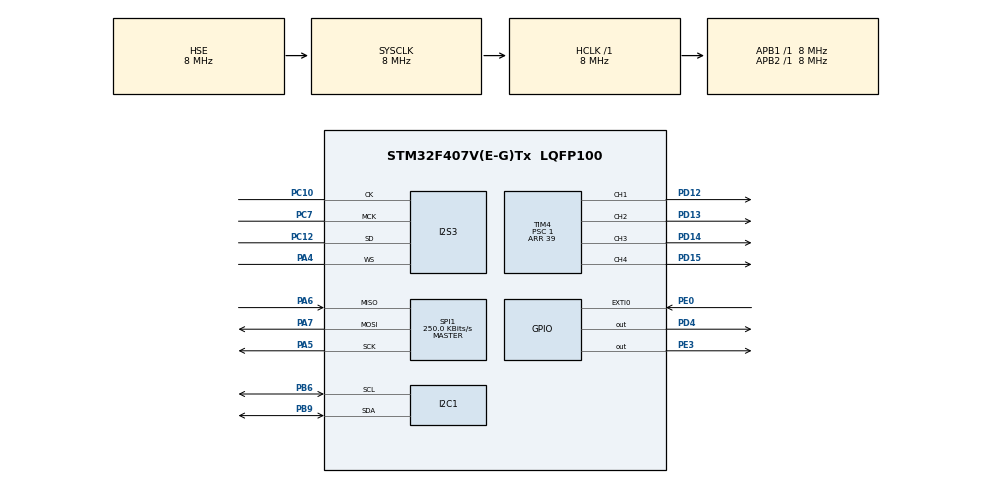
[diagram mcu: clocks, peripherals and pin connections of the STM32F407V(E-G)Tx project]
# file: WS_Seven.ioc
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Dma.Request0=SPI3_TX
Dma.SPI3_TX.0.Direction=DMA_MEMORY_TO_PERIPH
Dma.SPI3_TX.0.FIFOMode=DMA_FIFOMODE_ENABLE
Dma.SPI3_TX.0.FIFOThreshold=DMA_FIFO_THRESHOLD_FULL
Dma.SPI3_TX.0.Instance=DMA1_Stream5
Dma.SPI3_TX.0.MemBurst=DMA_MBURST_SINGLE
Dma.SPI3_TX.0.MemDataAlignment=DMA_MDATAALIGN_HALFWORD
Dma.SPI3_TX.0.MemInc=DMA_MINC_ENABLE
Dma.SPI3_TX.0.Mode=DMA_CIRCULAR
Dma.SPI3_TX.0.PeriphBurst=DMA_PBURST_SINGLE
Dma.SPI3_TX.0.PeriphDataAlignment=DMA_PDATAALIGN_HALFWORD
Dma.SPI3_TX.0.PeriphInc=DMA_PINC_DISABLE
Dma.SPI3_TX.0.Priority=DMA_PRIORITY_LOW
I2S3.AudioFreq=I2S_AUDIOFREQ_48K
I2S3.ErrorAudioFreq=-2.34 %
I2S3.FullDuplexMode=I2S_FULLDUPLEXMODE_DISABLE
I2S3.Instance=SPI$Index
I2S3.RealAudioFreq=46.875 KHz
I2S3.VirtualMode=I2S_MODE_MASTER
Mcu.Family=STM32F4
Mcu.Name=STM32F407V(E-G)Tx
Mcu.Package=LQFP100
NVIC.DMA1_Stream5_IRQn=true\:0\:0\:false\:false\:true\:false\:true\:true
NVIC.EXTI0_IRQn=true\:0\:0\:false\:false\:true\:true\:true\:true
NVIC.PriorityGroup=NVIC_PRIORITYGROUP_4
NVIC.TIM4_IRQn=true\:0\:0\:false\:false\:true\:true\:true\:true
PA4.Mode=Half_Duplex_Master
PA4.Signal=I2S3_WS
PA5.Mode=Full_Duplex_Master
PA5.Signal=SPI1_SCK
PA6.Mode=Full_Duplex_Master
PA6.Signal=SPI1_MISO
PA7.Mode=Full_Duplex_Master
PA7.Signal=SPI1_MOSI
PB6.Mode=I2C
PB6.Signal=I2C1_SCL
PB9.Mode=I2C
PB9.Signal=I2C1_SDA
PC10.Mode=Half_Duplex_Master
PC10.Signal=I2S3_CK
PC12.Mode=Half_Duplex_Master
PC12.Signal=I2S3_SD
PC7.Mode=Master_Clock_Activated
PC7.Signal=I2S3_MCK
PD12.Signal=S_TIM4_CH1
PD13.Signal=S_TIM4_CH2
PD14.Signal=S_TIM4_CH3
PD15.Signal=S_TIM4_CH4
PD4.Signal=GPIO_Output
PE0.Signal=GPXTI0
PE3.Signal=GPIO_Output
PH0-OSC_IN.Mode=HSE-External-Oscillator
PH0-OSC_IN.Signal=RCC_OSC_IN
PH1-OSC_OUT.Mode=HSE-External-Oscillator
PH1-OSC_OUT.Signal=RCC_OSC_OUT
ProjectManager.HeapSize=0x200
ProjectManager.StackSize=0x400
ProjectManager.TargetToolchain=STM32CubeIDE
RCC.48MHZClocksFreq_Value=24000000
RCC.AHBFreq_Value=8000000
RCC.APB1Freq_Value=8000000
RCC.APB1TimFreq_Value=8000000
RCC.APB2Freq_Value=8000000
RCC.APB2TimFreq_Value=8000000
RCC.CortexFreq_Value=8000000
RCC.HCLKFreq_Value=8000000
RCC.HSE_VALUE=8000000
RCC.HSI_VALUE=16000000
RCC.LSE_VALUE=32768
RCC.PLLSourceVirtual=RCC_PLLSOURCE_HSE
RCC.SYSCLKFreq_VALUE=8000000
RCC.SYSCLKSource=RCC_SYSCLKSOURCE_HSE
RCC.VCOOutputFreq_Value=96000000
SH.S_TIM4_CH1.0=TIM4_CH1,PWM Generation1 CH1
SH.S_TIM4_CH2.0=TIM4_CH2,PWM Generation2 CH2
SH.S_TIM4_CH3.0=TIM4_CH3,PWM Generation3 CH3
SH.S_TIM4_CH4.0=TIM4_CH4,PWM Generation4 CH4
SPI1.BaudRatePrescaler=SPI_BAUDRATEPRESCALER_32
SPI1.CalculateBaudRate=250.0 KBits/s
SPI1.Direction=SPI_DIRECTION_2LINES
SPI1.Mode=SPI_MODE_MASTER
SPI1.VirtualType=VM_MASTER
TIM4.AutoReloadPreload=TIM_AUTORELOAD_PRELOAD_ENABLE
TIM4.Channel-PWM\ Generation1\ CH1=TIM_CHANNEL_1
TIM4.Channel-PWM\ Generation2\ CH2=TIM_CHANNEL_2
TIM4.Channel-PWM\ Generation3\ CH3=TIM_CHANNEL_3
TIM4.Channel-PWM\ Generation4\ CH4=TIM_CHANNEL_4
TIM4.CounterMode=TIM_COUNTERMODE_DOWN
TIM4.Period=39
TIM4.Prescaler=1
VP_TIM4_VS_ClockSourceINT.Mode=Internal
board=custom

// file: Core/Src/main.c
/* USER CODE BEGIN Header */
/**
  ******************************************************************************
  * @file           : main.c
  * @brief          : Main program body
  ******************************************************************************
  * @attention
  *
  * Copyright (c) 2024 STMicroelectronics.
  * All rights reserved.
  *
  * This software is licensed under terms that can be found in the LICENSE file
  * in the root directory of this software component.
  * If no LICENSE file comes with this software, it is provided AS-IS.
  *
  ******************************************************************************
  */
/* USER CODE END Header */
#include "main.h"

/* USER CODE BEGIN Includes */
#include "dac.h"
#include <math.h>
#include "MY_LIS3DSH.h"
#include <stdbool.h>
/* USER CODE END Includes */

/* USER CODE BEGIN PD */
#define NUM_VALUES_TO_AVERAGE			4
#define X_TOLERANCE 				45.0
#define Y_TOLERANCE 				34.0
#define ABS(x) 					((x) < 0 ? -(x) : (x))
#define MAX_ABS(x, y) 				(ABS(x) > ABS(y) ? ABS(x) : ABS(y))
#define MAX_ABS_COORDINATES			1000.0
/* USER CODE END PD */

I2C_HandleTypeDef hi2c1;

I2S_HandleTypeDef hi2s3;
DMA_HandleTypeDef hdma_spi3_tx;

SPI_HandleTypeDef hspi1;

TIM_HandleTypeDef htim4;

/* USER CODE BEGIN PV */
int16_t dataI2S[100] = {0};
enum LEDDirection {
    NORTH,
    EAST,
    SOUTH,
    WEST,
    FLAT
};

LIS3DSH_DataScaled myData;
uint8_t tiltedLed = 4;
extern bool dataRdy;
/* USER CODE END PV */

void SystemClock_Config(void);
static void MX_GPIO_Init(void);
static void MX_DMA_Init(void);
static void MX_SPI1_Init(void);
static void MX_TIM4_Init(void);
static void MX_I2C1_Init(void);
static void MX_I2S3_Init(void);
/* USER CODE BEGIN PFP */
uint8_t determineLED(LIS3DSH_DataScaled data);
void updateDutycycle(uint8_t led, LIS3DSH_DataScaled data);
bool isFlat(LIS3DSH_DataScaled data);
void setSound(uint8_t led, LIS3DSH_DataScaled data);
bool acquireAndAverageData(LIS3DSH_DataScaled *newData);
void startPWM(uint8_t led);

/* USER CODE END PFP */

int main(void)
{

  /* MCU Configuration--------------------------------------------------------*/

  /* Reset of all peripherals, Initializes the Flash interface and the Systick. */
  HAL_Init();

  /* Configure the system clock */
  SystemClock_Config();

  /* Initialize all configured peripherals */
  MX_GPIO_Init();
  MX_DMA_Init();
  MX_SPI1_Init();
  MX_TIM4_Init();
  MX_I2C1_Init();
  MX_I2S3_Init();
  /* USER CODE BEGIN 2 */

  HAL_TIM_Base_Start_IT(&htim4);
  LIS3DSH_InitTypeDef myAccConfigDef;

  myAccConfigDef.dataRate = LIS3DSH_DATARATE_25;
  myAccConfigDef.fullScale = LIS3DSH_FULLSCALE_4;
  myAccConfigDef.antiAliasingBW = LIS3DSH_FILTER_BW_50;
  myAccConfigDef.enableAxes = LIS3DSH_XYZ_ENABLE;
  myAccConfigDef.interruptEnable = true;
  LIS3DSH_Init(&hspi1, &myAccConfigDef);

  LIS3DSH_X_calibrate(-1000.0, 980.0);
  LIS3DSH_Y_calibrate(-1020.0, 1040.0);
  LIS3DSH_Z_calibrate(-920.0, 1040.0);

  CS43L22_Init();

    //Transmit empty data
    HAL_I2S_Transmit_DMA(&hi2s3, (uint16_t *)dataI2S, 100);
  /* USER CODE END 2 */

  /* Infinite loop */
  /* USER CODE BEGIN WHILE */
    while (1)
    {
    	if(dataRdy)
    	{
    	    dataRdy = false;
            myData = LIS3DSH_GetDataScaled();

            if (acquireAndAverageData(&myData))
            {
                // Determine LED direction
                tiltedLed = determineLED(myData);

                // Control LED based on direction
                startPWM(tiltedLed);
                setSound(tiltedLed, myData);
                updateDutycycle(tiltedLed, myData);
            }
	}

        /* USER CODE END WHILE */

    }
}

void SystemClock_Config(void)
{
  RCC_OscInitTypeDef RCC_OscInitStruct = {0};
  RCC_ClkInitTypeDef RCC_ClkInitStruct = {0};

  /** Macro to configure the PLL multiplication factor
  */
  __HAL_RCC_PLL_PLLM_CONFIG(16);

  /** Macro to configure the PLL clock source
  */
  __HAL_RCC_PLL_PLLSOURCE_CONFIG(RCC_PLLSOURCE_HSE);

  /** Configure the main internal regulator output voltage
  */
  __HAL_RCC_PWR_CLK_ENABLE();
  __HAL_PWR_VOLTAGESCALING_CONFIG(PWR_REGULATOR_VOLTAGE_SCALE1);

  /** Initializes the RCC Oscillators according to the specified parameters
  * in the RCC_OscInitTypeDef structure.
  */
  RCC_OscInitStruct.OscillatorType = RCC_OSCILLATORTYPE_HSE;
  RCC_OscInitStruct.HSEState = RCC_HSE_ON;
  RCC_OscInitStruct.PLL.PLLState = RCC_PLL_NONE;
  RCC_OscInitStruct.PLL.PLLSource = RCC_PLLSOURCE_HSE;
  if (HAL_RCC_OscConfig(&RCC_OscInitStruct) != HAL_OK)
  {
    Error_Handler();
  }

  /** Initializes the CPU, AHB and APB buses clocks
  */
  RCC_ClkInitStruct.ClockType = RCC_CLOCKTYPE_HCLK|RCC_CLOCKTYPE_SYSCLK
                              |RCC_CLOCKTYPE_PCLK1|RCC_CLOCKTYPE_PCLK2;
  RCC_ClkInitStruct.SYSCLKSource = RCC_SYSCLKSOURCE_HSE;
  RCC_ClkInitStruct.AHBCLKDivider = RCC_SYSCLK_DIV1;
  RCC_ClkInitStruct.APB1CLKDivider = RCC_HCLK_DIV1;
  RCC_ClkInitStruct.APB2CLKDivider = RCC_HCLK_DIV1;

  if (HAL_RCC_ClockConfig(&RCC_ClkInitStruct, FLASH_LATENCY_0) != HAL_OK)
  {
    Error_Handler();
  }
}

static void MX_I2C1_Init(void)
{

  hi2c1.Instance = I2C1;
  hi2c1.Init.ClockSpeed = 100000;
  hi2c1.Init.DutyCycle = I2C_DUTYCYCLE_2;
  hi2c1.Init.OwnAddress1 = 0;
  hi2c1.Init.AddressingMode = I2C_ADDRESSINGMODE_7BIT;
  hi2c1.Init.DualAddressMode = I2C_DUALADDRESS_DISABLE;
  hi2c1.Init.OwnAddress2 = 0;
  hi2c1.Init.GeneralCallMode = I2C_GENERALCALL_DISABLE;
  hi2c1.Init.NoStretchMode = I2C_NOSTRETCH_DISABLE;
  if (HAL_I2C_Init(&hi2c1) != HAL_OK)
  {
    Error_Handler();
  }

}

static void MX_I2S3_Init(void)
{

  hi2s3.Instance = SPI3;
  hi2s3.Init.Mode = I2S_MODE_MASTER_TX;
  hi2s3.Init.Standard = I2S_STANDARD_PHILIPS;
  hi2s3.Init.DataFormat = I2S_DATAFORMAT_16B;
  hi2s3.Init.MCLKOutput = I2S_MCLKOUTPUT_ENABLE;
  hi2s3.Init.AudioFreq = I2S_AUDIOFREQ_48K;
  hi2s3.Init.CPOL = I2S_CPOL_LOW;
  hi2s3.Init.ClockSource = I2S_CLOCK_PLL;
  hi2s3.Init.FullDuplexMode = I2S_FULLDUPLEXMODE_DISABLE;
  if (HAL_I2S_Init(&hi2s3) != HAL_OK)
  {
    Error_Handler();
  }

}

static void MX_SPI1_Init(void)
{

  /* SPI1 parameter configuration*/
  hspi1.Instance = SPI1;
  hspi1.Init.Mode = SPI_MODE_MASTER;
  hspi1.Init.Direction = SPI_DIRECTION_2LINES;
  hspi1.Init.DataSize = SPI_DATASIZE_8BIT;
  hspi1.Init.CLKPolarity = SPI_POLARITY_LOW;
  hspi1.Init.CLKPhase = SPI_PHASE_1EDGE;
  hspi1.Init.NSS = SPI_NSS_SOFT;
  hspi1.Init.BaudRatePrescaler = SPI_BAUDRATEPRESCALER_32;
  hspi1.Init.FirstBit = SPI_FIRSTBIT_MSB;
  hspi1.Init.TIMode = SPI_TIMODE_DISABLE;
  hspi1.Init.CRCCalculation = SPI_CRCCALCULATION_DISABLE;
  hspi1.Init.CRCPolynomial = 10;
  if (HAL_SPI_Init(&hspi1) != HAL_OK)
  {
    Error_Handler();
  }

}

static void MX_TIM4_Init(void)
{

  TIM_ClockConfigTypeDef sClockSourceConfig = {0};
  TIM_MasterConfigTypeDef sMasterConfig = {0};
  TIM_OC_InitTypeDef sConfigOC = {0};

  htim4.Instance = TIM4;
  htim4.Init.Prescaler = 1;
  htim4.Init.CounterMode = TIM_COUNTERMODE_DOWN;
  htim4.Init.Period = 39;
  htim4.Init.ClockDivision = TIM_CLOCKDIVISION_DIV1;
  htim4.Init.AutoReloadPreload = TIM_AUTORELOAD_PRELOAD_ENABLE;
  if (HAL_TIM_Base_Init(&htim4) != HAL_OK)
  {
    Error_Handler();
  }
  sClockSourceConfig.ClockSource = TIM_CLOCKSOURCE_INTERNAL;
  if (HAL_TIM_ConfigClockSource(&htim4, &sClockSourceConfig) != HAL_OK)
  {
    Error_Handler();
  }
  if (HAL_TIM_PWM_Init(&htim4) != HAL_OK)
  {
    Error_Handler();
  }
  sMasterConfig.MasterOutputTrigger = TIM_TRGO_RESET;
  sMasterConfig.MasterSlaveMode = TIM_MASTERSLAVEMODE_DISABLE;
  if (HAL_TIMEx_MasterConfigSynchronization(&htim4, &sMasterConfig) != HAL_OK)
  {
    Error_Handler();
  }
  sConfigOC.OCMode = TIM_OCMODE_PWM1;
  sConfigOC.Pulse = 0;
  sConfigOC.OCPolarity = TIM_OCPOLARITY_HIGH;
  sConfigOC.OCFastMode = TIM_OCFAST_DISABLE;
  if (HAL_TIM_PWM_ConfigChannel(&htim4, &sConfigOC, TIM_CHANNEL_1) != HAL_OK)
  {
    Error_Handler();
  }
  if (HAL_TIM_PWM_ConfigChannel(&htim4, &sConfigOC, TIM_CHANNEL_2) != HAL_OK)
  {
    Error_Handler();
  }
  if (HAL_TIM_PWM_ConfigChannel(&htim4, &sConfigOC, TIM_CHANNEL_3) != HAL_OK)
  {
    Error_Handler();
  }
  if (HAL_TIM_PWM_ConfigChannel(&htim4, &sConfigOC, TIM_CHANNEL_4) != HAL_OK)
  {
    Error_Handler();
  }
  HAL_TIM_MspPostInit(&htim4);

}

static void MX_DMA_Init(void)
{

  /* DMA controller clock enable */
  __HAL_RCC_DMA1_CLK_ENABLE();

  /* DMA interrupt init */
  /* DMA1_Stream5_IRQn interrupt configuration */
  HAL_NVIC_SetPriority(DMA1_Stream5_IRQn, 0, 0);
  HAL_NVIC_EnableIRQ(DMA1_Stream5_IRQn);

}

static void MX_GPIO_Init(void)
{
  GPIO_InitTypeDef GPIO_InitStruct = {0};

  /* GPIO Ports Clock Enable */
  __HAL_RCC_GPIOE_CLK_ENABLE();
  __HAL_RCC_GPIOH_CLK_ENABLE();
  __HAL_RCC_GPIOA_CLK_ENABLE();
  __HAL_RCC_GPIOD_CLK_ENABLE();
  __HAL_RCC_GPIOC_CLK_ENABLE();
  __HAL_RCC_GPIOB_CLK_ENABLE();

  /*Configure GPIO pin Output Level */
  HAL_GPIO_WritePin(GPIOE, GPIO_PIN_3, GPIO_PIN_RESET);

  /*Configure GPIO pin Output Level */
  HAL_GPIO_WritePin(GPIOD, GPIO_PIN_4, GPIO_PIN_RESET);

  /*Configure GPIO pin : PE3 */
  GPIO_InitStruct.Pin = GPIO_PIN_3;
  GPIO_InitStruct.Mode = GPIO_MODE_OUTPUT_PP;
  GPIO_InitStruct.Pull = GPIO_NOPULL;
  GPIO_InitStruct.Speed = GPIO_SPEED_FREQ_LOW;
  HAL_GPIO_Init(GPIOE, &GPIO_InitStruct);

  /*Configure GPIO pin : PD4 */
  GPIO_InitStruct.Pin = GPIO_PIN_4;
  GPIO_InitStruct.Mode = GPIO_MODE_OUTPUT_PP;
  GPIO_InitStruct.Pull = GPIO_NOPULL;
  GPIO_InitStruct.Speed = GPIO_SPEED_FREQ_LOW;
  HAL_GPIO_Init(GPIOD, &GPIO_InitStruct);

  /*Configure GPIO pin : PE0 */
  GPIO_InitStruct.Pin = GPIO_PIN_0;
  GPIO_InitStruct.Mode = GPIO_MODE_IT_RISING;
  GPIO_InitStruct.Pull = GPIO_NOPULL;
  HAL_GPIO_Init(GPIOE, &GPIO_InitStruct);

  /* EXTI interrupt init*/
  HAL_NVIC_SetPriority(EXTI0_IRQn, 0, 0);
  HAL_NVIC_EnableIRQ(EXTI0_IRQn);

}

/* USER CODE BEGIN 4 */
bool isFlat(LIS3DSH_DataScaled data)
{
    if (data.x > -X_TOLERANCE && data.x < X_TOLERANCE &&
        data.y > -Y_TOLERANCE && data.y < Y_TOLERANCE) {
            // The board is considered flat
            return true;
        }

    // The board is not flat
    return false;
}

void updateDutycycle(uint8_t led, LIS3DSH_DataScaled data) {
    uint32_t dutyCycle;

    // Determine which axis to use for duty cycle calculation
    float max_abs = MAX_ABS(data.x, data.y);

    // Calculate duty cycle as a fraction of the maximum absolute value (either data.x or data.y)
    dutyCycle = (uint32_t)((max_abs / MAX_ABS_COORDINATES) * htim4.Instance->ARR);

    // Set duty cycle based on the current LED
    switch (led) {
        case NORTH:
            TIM4->CCR1 = dutyCycle;
            break;
        case EAST:
            TIM4->CCR2 = dutyCycle;
            break;
        case SOUTH:
            TIM4->CCR3 = dutyCycle;
            break;
        case WEST:
            TIM4->CCR4 = dutyCycle;
            break;
        case FLAT:
            // Do nothing
            break;
    }
}

// Function to determine LED direction based on tilt angle
uint8_t determineLED(LIS3DSH_DataScaled data) {

    // Divide the range into four equal parts and assign LEDs

    if(isFlat(data))
    {
    	return FLAT;
    }

    float x_abs = ABS(data.x);
    float y_abs = ABS(data.y);

    if (y_abs > x_abs)
    {
        if (data.y < - Y_TOLERANCE) {
            return WEST;
        } else {
            return EAST;
        }
    } else {
        if (data.x < -X_TOLERANCE) {
            return SOUTH;
        } else {
            return NORTH;
        }
    }
}

void setSound(uint8_t led,LIS3DSH_DataScaled data)
{
    float max_abs = MAX_ABS(data.x, data.y);
    if(led != FLAT)
    {
	    if (max_abs < 500)
	    {
  		  CS43L22_Beep(C5, 100);
	    }else
	    {
  		  CS43L22_Beep(F5, 100);
	    }
    }
}

bool acquireAndAverageData(LIS3DSH_DataScaled *newData) {
    static LIS3DSH_DataScaled accumulatedData = {0};
    static uint8_t numValuesAveraged = 0;

 //   static uint8_t drdyFlag=0;

    // Accumulate new data
    accumulatedData.x += newData->x;
    accumulatedData.y += newData->y;
    accumulatedData.z += newData->z;

    numValuesAveraged++; // Increment the number of values averaged

    // Check if enough values are averaged
    if (numValuesAveraged >= NUM_VALUES_TO_AVERAGE) {
        // Calculate the average
        // Update newData with averaged data
        newData->x = accumulatedData.x / NUM_VALUES_TO_AVERAGE;
        newData->y = accumulatedData.y / NUM_VALUES_TO_AVERAGE;
        newData->z = accumulatedData.z / NUM_VALUES_TO_AVERAGE;

        // Reset counter and accumulated data for the next batch
        numValuesAveraged = 0;
        accumulatedData = (LIS3DSH_DataScaled){0};
        return true;

    }
    return false;
}

void startPWM(uint8_t led) {
    switch (led) {
        case NORTH:
            HAL_TIM_PWM_Start(&htim4, TIM_CHANNEL_1);
            HAL_TIM_PWM_Stop(&htim4, TIM_CHANNEL_2);
            HAL_TIM_PWM_Stop(&htim4, TIM_CHANNEL_3);
            HAL_TIM_PWM_Stop(&htim4, TIM_CHANNEL_4);
            break;
        case EAST:
            HAL_TIM_PWM_Stop(&htim4, TIM_CHANNEL_1);
            HAL_TIM_PWM_Start(&htim4, TIM_CHANNEL_2);
            HAL_TIM_PWM_Stop(&htim4, TIM_CHANNEL_3);
            HAL_TIM_PWM_Stop(&htim4, TIM_CHANNEL_4);
            break;
        case SOUTH:
            HAL_TIM_PWM_Stop(&htim4, TIM_CHANNEL_1);
            HAL_TIM_PWM_Stop(&htim4, TIM_CHANNEL_2);
            HAL_TIM_PWM_Start(&htim4, TIM_CHANNEL_3);
            HAL_TIM_PWM_Stop(&htim4, TIM_CHANNEL_4);
            break;
        case WEST:
            HAL_TIM_PWM_Stop(&htim4, TIM_CHANNEL_1);
            HAL_TIM_PWM_Stop(&htim4, TIM_CHANNEL_2);
            HAL_TIM_PWM_Stop(&htim4, TIM_CHANNEL_3);
            HAL_TIM_PWM_Start(&htim4, TIM_CHANNEL_4);
            break;
        case FLAT:
            HAL_TIM_PWM_Stop(&htim4, TIM_CHANNEL_1);
            HAL_TIM_PWM_Stop(&htim4, TIM_CHANNEL_2);
            HAL_TIM_PWM_Stop(&htim4, TIM_CHANNEL_3);
            HAL_TIM_PWM_Stop(&htim4, TIM_CHANNEL_4);
            break;
        default:
            // Do nothing
            break;
    }
}

/* USER CODE END 4 */

void Error_Handler(void)
{
  __disable_irq();
  while (1)
  {
  }
}
